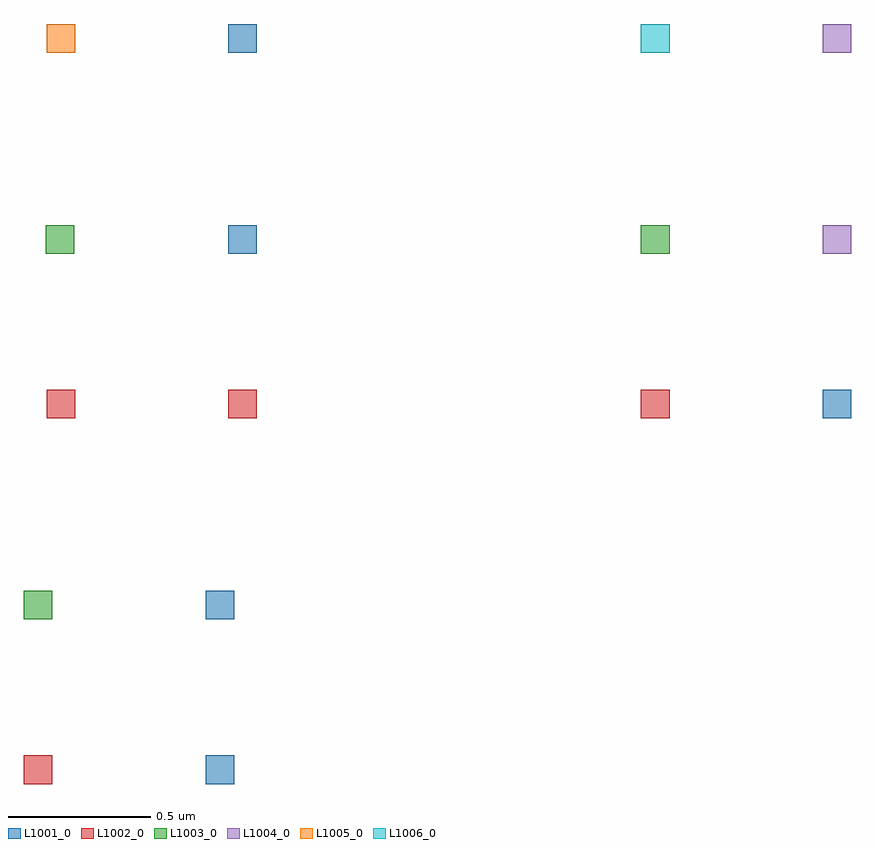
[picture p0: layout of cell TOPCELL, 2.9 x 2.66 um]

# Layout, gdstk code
import gdstk
lib = gdstk.Library(unit=1e-6, precision=1e-09)
def R(c, l, rs):  # rectangles x0, y0, x1, y1
    for r in rs: c.add(gdstk.rectangle(r[:2], r[2:], *l))
L1001_0 = (1001, 0)
L1002_0 = (1002, 0)
L1003_0 = (1003, 0)
L1004_0 = (1004, 0)
L1005_0 = (1005, 0)
L1006_0 = (1006, 0)

topcell = lib.new_cell('TOPCELL')
R(topcell, L1001_0, [(134.15,269.102,134.25,269.202), (134.15,269.678,134.25,269.778), (136.31,270.382,136.41,270.482), (134.23,270.958,134.33,271.058), (134.23,271.662,134.33,271.762)])
R(topcell, L1002_0, [(133.514,269.102,133.614,269.202), (133.594,270.382,133.694,270.482), (134.23,270.382,134.33,270.482), (135.674,270.382,135.774,270.482)])
R(topcell, L1003_0, [(133.514,269.678,133.614,269.778), (133.59,270.958,133.69,271.058), (135.674,270.958,135.774,271.058)])
R(topcell, L1004_0, [(136.31,270.958,136.41,271.058), (136.31,271.662,136.41,271.762)])
R(topcell, L1005_0, [(133.594,271.662,133.694,271.762)])
R(topcell, L1006_0, [(135.674,271.662,135.774,271.762)])

lib.write_gds('TOPCELL.gds')
